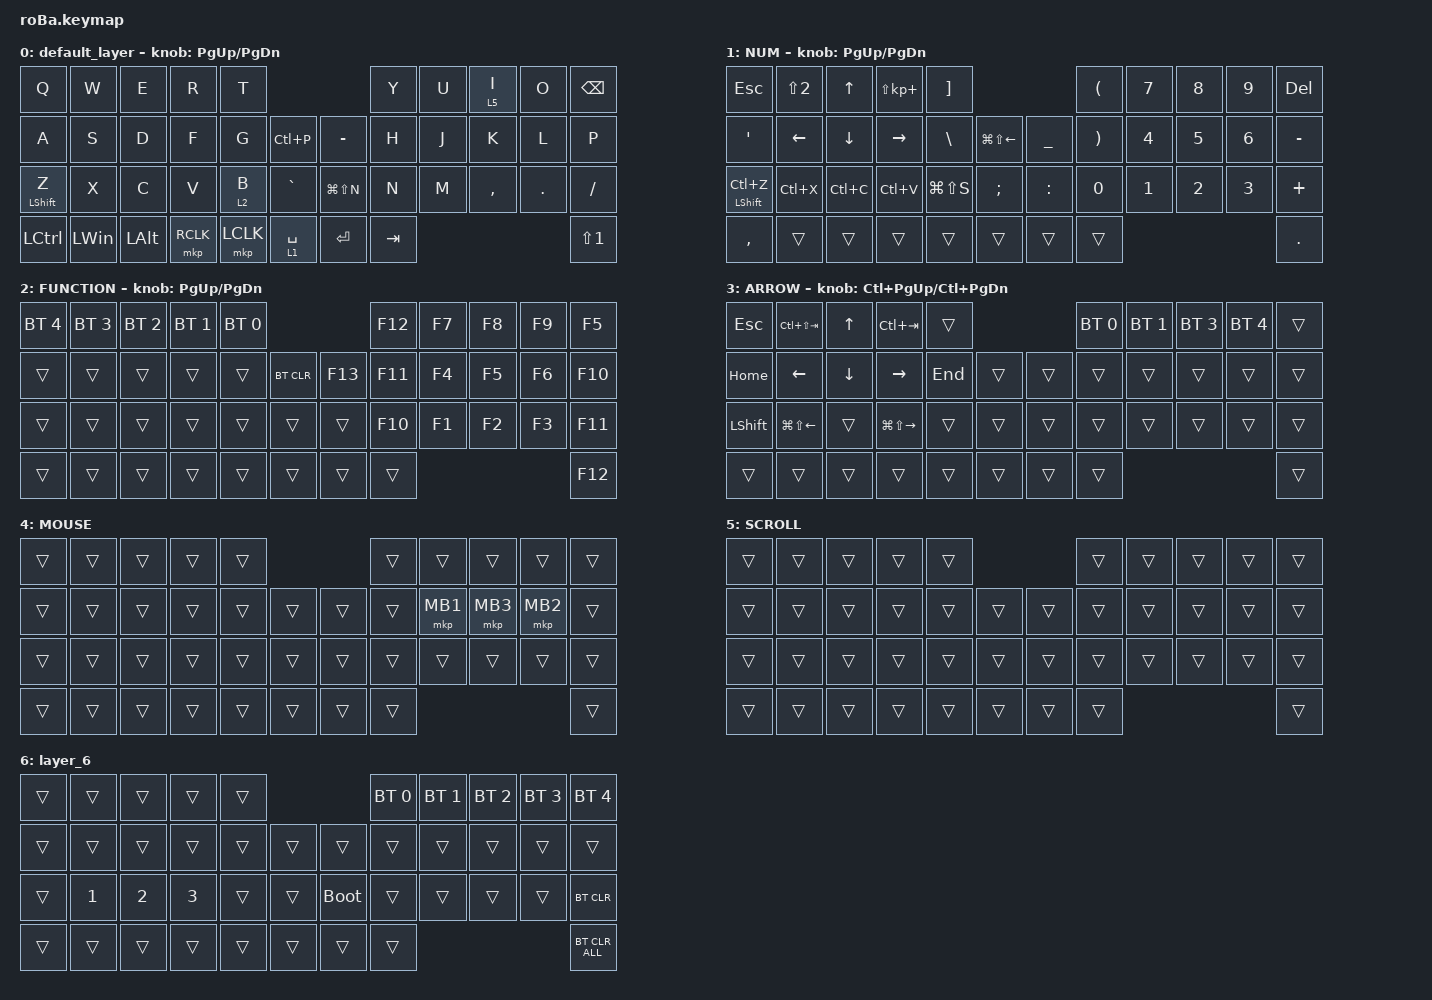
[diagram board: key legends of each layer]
#include <behaviors.dtsi>
#include <dt-bindings/zmk/bt.h>
#include <dt-bindings/zmk/keys.h>
#include <dt-bindings/zmk/pointing.h>

define JP_UNDERSCORE   LS(0x87)
&mt {
    flavor = "balanced";
    quick-tap-ms = <0>;
};

&trackball {
    automouse-layer = <4>;
    scroll-layers = <5>;

    // arrows {
    //     layers = <3>;
    //     bindings =
    //         <&kp RIGHT_ARROW>,
    //         <&kp LEFT_ARROW>,
    //         <&kp UP_ARROW>,
    //         <&kp DOWN_ARROW>;
    //     tick = <10>;
    //     wait-ms = <5>;
    //     tap-ms = <5>;
    // };
};

/ {
    combos {
        compatible = "zmk,combos";

        tab {
            bindings = <&kp TAB>;
            key-positions = <11 12>;
        };

        shift_tab {
            bindings = <&kp LS(TAB)>;
            key-positions = <12 13>;
        };

        muhennkann {
            bindings = <&to_layer_0 INT_MUHENKAN>;
            key-positions = <11 10>;
        };

        double_quotation {
            bindings = <&kp DOUBLE_QUOTES>;
            key-positions = <20 21>;
        };

        eq {
            bindings = <&kp EQUAL>;
            key-positions = <24 25>;
        };
    };

    macros {
        to_layer_0: to_layer_0 {
            compatible = "zmk,behavior-macro-one-param";
            #binding-cells = <1>;
            bindings = <&to 0 &macro_param_1to1 &kp MACRO_PLACEHOLDER>;
            label = "TO_LAYER_0";
        };
    };

    behaviors {
        lt_to_layer_0: lt_to_layer_0 {
            compatible = "zmk,behavior-hold-tap";
            label = "LAYER_TAP_TO_0";
            bindings = <&mo>, <&to_layer_0>;

            #binding-cells = <2>;
            tapping-term-ms = <200>;
        };

        scroll_up_down: mouse_up_down {
            compatible = "zmk,behavior-sensor-rotate";
            #sensor-binding-cells = <0>;
            bindings = <&msc SCRL_UP>, <&msc SCRL_DOWN>;

            tap-ms = <20>;
        };

        scroll_left_right: mouse_wheel_left_right {
            compatible = "zmk,behavior-sensor-rotate";
            #sensor-binding-cells = <0>;
            bindings = <&msc SCRL_LEFT>, <&msc SCRL_RIGHT>;

            tap-ms = <20>;
        };
    };

    keymap {
        compatible = "zmk,keymap";

        default_layer {
            bindings = <
&kp Q             &kp W         &kp E         &kp R      &kp T                                      &kp Y    &kp U  &lt 5 I    &kp O    &kp BACKSPACE
&kp A             &kp S         &kp D         &kp F      &kp G      &kp LC(P)        &kp MINUS      &kp H    &kp J  &kp K      &kp L    &kp P
&mt LEFT_SHIFT Z  &kp X         &kp C         &kp V      &lt 2 B    &kp GRAVE        &kp LG(LS(N))  &kp N    &kp M  &kp COMMA  &kp DOT  &kp SLASH
&kp LCTRL         &kp LEFT_WIN  &kp LEFT_ALT  &mkp RCLK  &mkp LCLK  &lt 1 SPACE      &kp ENTER      &kp TAB                             &kp LS(NUMBER_1)
            >;

            sensor-bindings = <&inc_dec_kp PAGE_UP PAGE_DOWN>;
        };

        NUM {
            bindings = <
&kp ESCAPE            &kp LS(N2)      &kp UP          &kp LS(KP_PLUS)  &kp RIGHT_BRACKET                                              &kp LEFT_PARENTHESIS   &kp NUMBER_7  &kp NUMBER_8  &kp NUMBER_9  &kp DEL
&kp SINGLE_QUOTE      &kp LEFT_ARROW  &kp DOWN_ARROW  &kp RIGHT_ARROW  &kp BACKSLASH      &kp LG(LS(LEFT_ARROW))      &kp UNDERSCORE  &kp RIGHT_PARENTHESIS  &kp NUMBER_4  &kp NUMBER_5  &kp NUMBER_6  &kp MINUS
&mt LEFT_SHIFT LC(Z)  &kp LC(X)       &kp LC(C)       &kp LC(V)        &kp LG(LS(S))      &kp SEMICOLON               &kp COLON       &kp NUMBER_0           &kp NUMBER_1  &kp NUMBER_2  &kp NUMBER_3  &kp PLUS
&kp COMMA             &trans          &trans          &trans           &trans             &trans                      &trans          &trans                                                           &kp PERIOD
            >;

            sensor-bindings = <&inc_dec_kp PAGE_UP PAGE_DOWN>;
        };

        FUNCTION {
            bindings = <
&bt BT_SEL 4  &bt BT_SEL 3  &bt BT_SEL 2  &bt BT_SEL 1  &bt BT_SEL 0                           &kp F12  &kp F7  &kp F8  &kp F9  &kp F5
&trans        &trans        &trans        &trans        &trans        &bt BT_CLR      &kp F13  &kp F11  &kp F4  &kp F5  &kp F6  &kp F10
&trans        &trans        &trans        &trans        &trans        &trans          &trans   &kp F10  &kp F1  &kp F2  &kp F3  &kp F11
&trans        &trans        &trans        &trans        &trans        &trans          &trans   &trans                           &kp F12
            >;

            sensor-bindings = <&inc_dec_kp PAGE_UP PAGE_DOWN>;
        };

        ARROW {
            bindings = <
&kp ESCAPE      &kp LC(LS(TAB))         &kp UP_ARROW    &kp LC(TAB)              &trans                       &bt BT_SEL 0  &bt BT_SEL 1  &bt BT_SEL 3  &bt BT_SEL 4  &trans
&kp HOME        &kp LEFT_ARROW          &kp DOWN_ARROW  &kp RIGHT_ARROW          &kp END  &trans      &trans  &trans        &trans        &trans        &trans        &trans
&kp LEFT_SHIFT  &kp LG(LS(LEFT_ARROW))  &trans          &kp LG(LS(RIGHT_ARROW))  &trans   &trans      &trans  &trans        &trans        &trans        &trans        &trans
&trans          &trans                  &trans          &trans                   &trans   &trans      &trans  &trans                                                  &trans
            >;

            sensor-bindings = <&inc_dec_kp LC(PAGE_UP) LC(PAGE_DOWN)>;
        };

        MOUSE {
            bindings = <
&trans  &trans  &trans  &trans  &trans                      &trans  &trans    &trans    &trans    &trans
&trans  &trans  &trans  &trans  &trans  &trans      &trans  &trans  &mkp MB1  &mkp MB3  &mkp MB2  &trans
&trans  &trans  &trans  &trans  &trans  &trans      &trans  &trans  &trans    &trans    &trans    &trans
&trans  &trans  &trans  &trans  &trans  &trans      &trans  &trans                                &trans
            >;
        };

        SCROLL {
            bindings = <
&trans  &trans  &trans  &trans  &trans                      &trans  &trans  &trans  &trans  &trans
&trans  &trans  &trans  &trans  &trans  &trans      &trans  &trans  &trans  &trans  &trans  &trans
&trans  &trans  &trans  &trans  &trans  &trans      &trans  &trans  &trans  &trans  &trans  &trans
&trans  &trans  &trans  &trans  &trans  &trans      &trans  &trans                          &trans
            >;
        };

        layer_6 {
            bindings = <
&trans  &trans        &trans        &trans        &trans                           &bt BT_SEL 0  &bt BT_SEL 1  &bt BT_SEL 2  &bt BT_SEL 3  &bt BT_SEL 4
&trans  &trans        &trans        &trans        &trans  &trans      &trans       &trans        &trans        &trans        &trans        &trans
&trans  &kp NUMBER_1  &kp NUMBER_2  &kp NUMBER_3  &trans  &trans      &bootloader  &trans        &trans        &trans        &trans        &bt BT_CLR
&trans  &trans        &trans        &trans        &trans  &trans      &trans       &trans                                                  &bt BT_CLR_ALL
            >;
        };
    };
};
